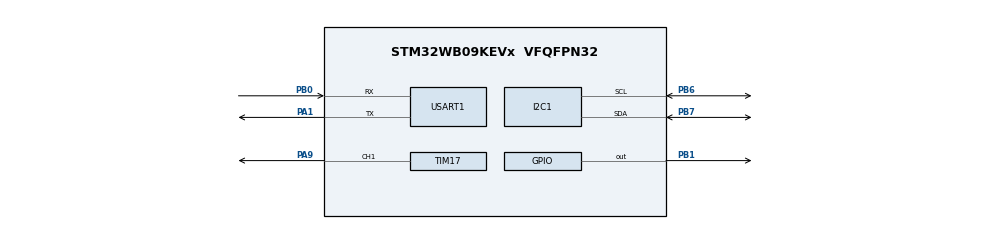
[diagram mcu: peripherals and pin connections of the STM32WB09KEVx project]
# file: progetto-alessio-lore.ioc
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I2C1.Timing=0x00303D5B
Mcu.Family=STM32WB0
Mcu.Name=STM32WB09KEVx
Mcu.Package=VFQFPN32
NVIC.RADIO_RRM_IRQn=true\:0\:0\:false\:false\:true\:false\:true\:true
NVIC.RADIO_TIMER_CPU_WKUP_IRQn=true\:0\:0\:false\:false\:true\:false\:true\:true
NVIC.RADIO_TIMER_ERROR_IRQn=true\:0\:0\:false\:false\:true\:false\:true\:true
NVIC.RADIO_TXRX_IRQn=true\:0\:0\:false\:false\:true\:false\:true\:true
NVIC.RADIO_TXRX_SEQ_IRQn=true\:0\:0\:false\:false\:true\:false\:true\:true
OSCIN.Mode=HSE-External-Oscillator
OSCIN.Signal=RCC_OSC_IN
OSCOUT.Mode=HSE-External-Oscillator
OSCOUT.Signal=RCC_OSC_OUT
PA1.Mode=Asynchronous
PA1.Signal=USART1_TX
PA2.Mode=Serial_Wire
PA2.Signal=DEBUG_SWDIO
PA3.Mode=Serial_Wire
PA3.Signal=DEBUG_SWCLK
PA9.Signal=S_TIM17_CH1
PB0.Mode=Asynchronous
PB0.Signal=USART1_RX
PB1.Signal=GPIO_Output
PB12.Mode=LSE-External-Oscillator
PB12.Signal=RCC_OSC32_OUT
PB13.Mode=LSE-External-Oscillator
PB13.Signal=RCC_OSC32_IN
PB6.GPIO_Pu=GPIO_PULLUP
PB6.Mode=I2C
PB6.Signal=I2C1_SCL
PB7.GPIO_Pu=GPIO_PULLUP
PB7.Mode=I2C
PB7.Signal=I2C1_SDA
ProjectManager.HeapSize=0x000
ProjectManager.StackSize=0xC00
ProjectManager.TargetToolchain=STM32CubeIDE
RCC.BLEMultSource=RCC_RF_CLK_16M
RCC.HSE_VALUE=32000000
RCC.HSI_VALUE=64000000
RCC.RC64MPLLSource=RCC_LSCOSOURCE_PLL64
RCC.RTCClockSelection=RCC_RTC_WDG_BLEWKUP_CLKSOURCE_LSE
RCC.SYSCLK64Divider=RCC_RC64MPLL_DIV2
RF1.Mode=RF1_Activate
RF1.Signal=RADIO_RF1
SH.S_TIM17_CH1.0=TIM17_CH1,PWM Generation1 CH1
STM32_BLE.AD_TYPE_COMPLETE_LOCAL_NAME=Alessio-Terrarium
STM32_BLE.AD_TYPE_COMPLETE_LOCAL_NAME_LENGTH=18
STM32_BLE.BSP.number=1
STM32_BLE.CFG_DEBUG_APP_ADV_TRACE=1
STM32_BLE.CFG_LSCLK_LSE=1
STM32_BLE.INCLUDE_AD_TYPE_COMPLETE_LOCAL_NAME=1
STM32_BLE.NUMBER_OF_SERVICES=1
STM32_BLE.SERVICE1_CHAR1_LONG_NAME=Temperatura
STM32_BLE.SERVICE1_CHAR1_PROP_NOTIFY=BLE_GATT_SRV_CHAR_PROP_NOTIFY
STM32_BLE.SERVICE1_CHAR1_PROP_READ=BLE_GATT_SRV_CHAR_PROP_READ
STM32_BLE.SERVICE1_CHAR1_SHORT_NAME=Temperatura
STM32_BLE.SERVICE1_CHAR1_UUID=00 01
STM32_BLE.SERVICE1_CHAR1_VALUE_LENGTH=4
STM32_BLE.SERVICE1_CHAR2_LONG_NAME=Umidita
STM32_BLE.SERVICE1_CHAR2_PROP_NOTIFY=BLE_GATT_SRV_CHAR_PROP_NOTIFY
STM32_BLE.SERVICE1_CHAR2_PROP_READ=BLE_GATT_SRV_CHAR_PROP_READ
STM32_BLE.SERVICE1_CHAR2_SHORT_NAME=Umidita
STM32_BLE.SERVICE1_CHAR2_UUID=00 02
STM32_BLE.SERVICE1_CHAR2_VALUE_LENGTH=4
STM32_BLE.SERVICE1_CHAR3_LONG_NAME=Ventola
STM32_BLE.SERVICE1_CHAR3_PROP_NOTIFY=BLE_GATT_SRV_CHAR_PROP_NOTIFY
STM32_BLE.SERVICE1_CHAR3_PROP_READ=BLE_GATT_SRV_CHAR_PROP_READ
STM32_BLE.SERVICE1_CHAR3_PROP_WRITE=BLE_GATT_SRV_CHAR_PROP_WRITE
STM32_BLE.SERVICE1_CHAR3_SHORT_NAME=Ventola
STM32_BLE.SERVICE1_CHAR3_UUID=00 03
STM32_BLE.SERVICE1_LONG_NAME=Terrarium
STM32_BLE.SERVICE1_NUMBER_OF_CHARACTERISTICS=3
STM32_BLE.SERVICE1_SHORT_NAME=Terrarium
STM32_BLE.SERVICE1_UUID=AB CD
STM32_BLE0.BSP.STBoard=false
STM32_BLE0.BSP.api=Unknown
STM32_BLE0.BSP.instance=USART1
STM32_BLE0.BSP.ip=(LPU|US)ART
STM32_BLE0.BSP.mode=Asynchronous
STM32_BLE0.BSP.name=Serial Link for Traces
STM32_BLE0.BSP.solution=USART1
TIM17.AutoReloadPreload=TIM_AUTORELOAD_PRELOAD_ENABLE
TIM17.Channel=TIM_CHANNEL_1
USART1.VirtualMode-Asynchronous=VM_ASYNC
VP_ADV_TRACE_VS_ADV_TRACE.Mode=ADV_TRACE_Enabled
VP_COMMON_BLE_VS_Utility_Common_BLE_1.0.0_1.0.0.Mode=Utility_Common
VP_MEMORYMAP_VS_MEMORYMAP.Mode=CurAppReg
VP_MISC_VS_MISC.Mode=MISC_Enabled
VP_PKA_VS_PKA.Mode=PKA_Activate
VP_PWR_VS_SECSignals.Mode=Security/Privilege
VP_RADIO_TIMER_VS_RADIO.Mode=RADIO_Activate
VP_RNG_VS_RNG.Mode=RNG_Activate
VP_SEQUENCER_VS_SEQUENCER.Mode=SEQUENCER_Enabled
VP_STM32_BLE_VS_BLE_HOST_SP.Mode=BLE_Server
VP_TIM17_VS_ClockSourceINT.Mode=Enable_Timer
VP_TINY_LPM_VS_TINY_LPM.Mode=TINY_LPM_Enabled
board=custom

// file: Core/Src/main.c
/* USER CODE BEGIN Header */
/**
  ******************************************************************************
  * @file           : main.c
  * @brief          : Main program body
  ******************************************************************************
  * @attention
  *
  * Copyright (c) 2026 STMicroelectronics.
  * All rights reserved.
  *
  * This software is licensed under terms that can be found in the LICENSE file
  * in the root directory of this software component.
  * If no LICENSE file comes with this software, it is provided AS-IS.
  *
  ******************************************************************************
  */
/* USER CODE END Header */
#include "main.h"

/* USER CODE BEGIN Includes */
#include <stdio.h>
#include "terrarium_app.h"
/* USER CODE END Includes */

I2C_HandleTypeDef hi2c1;

PKA_HandleTypeDef hpka;

RNG_HandleTypeDef hrng;

TIM_HandleTypeDef htim17;

UART_HandleTypeDef huart1;

void SystemClock_Config(void);
void PeriphCommonClock_Config(void);
static void MX_GPIO_Init(void);
static void MX_I2C1_Init(void);
static void MX_USART1_UART_Init(void);
static void MX_TIM17_Init(void);
static void MX_RNG_Init(void);
static void MX_PKA_Init(void);
static void MX_RADIO_Init(void);
static void MX_RADIO_TIMER_Init(void);
/* USER CODE BEGIN PFP */
static void ConfiguraSensore(void);
static void AvviaMisurazioneSensore(void);
static void LeggiSensore(float *temperatura, float *umidita);
// devo rimuovere static per permettere la visibilità agli altri file
void AttivaVentola(uint8_t velocita);
void SpegniVentola(void);
/* USER CODE END PFP */

/* USER CODE BEGIN 0 */
uint32_t timestamp_sensore = 0;
uint8_t ventola_attiva = 0;
uint32_t timestamp_ventola = 0;
uint32_t timeout_ventola = 0;
/* USER CODE END 0 */

int main(void)
{

  /* MCU Configuration--------------------------------------------------------*/

  /* Reset of all peripherals, Initializes the Flash interface and the Systick. */
  HAL_Init();

  /* Configure the system clock */
  SystemClock_Config();

  /* Configure the peripherals common clocks */
  PeriphCommonClock_Config();

  /* Initialize all configured peripherals */
  MX_GPIO_Init();
  MX_I2C1_Init();
  MX_USART1_UART_Init();
  MX_TIM17_Init();
  MX_RNG_Init();
  MX_PKA_Init();
  MX_RADIO_Init();
  MX_RADIO_TIMER_Init();

  /* Init code for STM32_BLE */
  MX_APPE_Init(NULL);

  /* Infinite loop */
  /* USER CODE BEGIN WHILE */

  HAL_TIM_PWM_Start(&htim17, TIM_CHANNEL_1);
  #define HDC1080_ADDR (0x40 << 1) // indirizzo = 0100 0000, shiftato per HAL
  float temperatura, umidita;
  extern uint8_t global_device_connected;
  ConfiguraSensore(); // solo all'avvio

  while (1)
    {
      // campioniamo temp. e umid. ogni 5 secondi
      if((HAL_GetTick() - timestamp_sensore >= 5000) ){
      AvviaMisurazioneSensore();
      LeggiSensore(&temperatura, &umidita);
      	  // attiviamo la ventola se superiamo una soglia di temperatura
      	  if(temperatura > 30.0 && ventola_attiva == 0){
          	  AttivaVentola(100); // cattura sempre un timestamp all'attivazione
          	  Notifica_Ventola_BLE(ventola_attiva);
          }
      	  Notifica_Temperatura_BLE(temperatura);
      	  Notifica_Umidita_BLE(umidita);
      }

      // controlliamo che la ventola non stia accesa più del tempo stabilito
      if(ventola_attiva > 0 && (HAL_GetTick() - timestamp_ventola >= 15000) ){
          SpegniVentola();
          Notifica_Ventola_BLE(ventola_attiva);
      }

	  // lampeggia led blu finchè non mi connetto con bluetooth
      if(global_device_connected == 0){
    	  HAL_GPIO_TogglePin(GPIOB, GPIO_PIN_1);
      }

      HAL_Delay(100);

    /* USER CODE END WHILE */
    MX_APPE_Process();

    }
}

void SystemClock_Config(void)
{
  RCC_OscInitTypeDef RCC_OscInitStruct = {0};
  RCC_ClkInitTypeDef RCC_ClkInitStruct = {0};

  /** Initializes the RCC Oscillators according to the specified parameters
  * in the RCC_OscInitTypeDef structure.
  */
  RCC_OscInitStruct.OscillatorType = RCC_OSCILLATORTYPE_HSE|RCC_OSCILLATORTYPE_LSE;
  RCC_OscInitStruct.HSEState = RCC_HSE_ON;
  RCC_OscInitStruct.LSEState = RCC_LSE_ON;
  if (HAL_RCC_OscConfig(&RCC_OscInitStruct) != HAL_OK)
  {
    Error_Handler();
  }

  /** Configure the SYSCLKSource and SYSCLKDivider
  */
  RCC_ClkInitStruct.SYSCLKSource = RCC_SYSCLKSOURCE_RC64MPLL;
  RCC_ClkInitStruct.SYSCLKDivider = RCC_RC64MPLL_DIV2;

  if (HAL_RCC_ClockConfig(&RCC_ClkInitStruct, FLASH_WAIT_STATES_0) != HAL_OK)
  {
    Error_Handler();
  }
}

void PeriphCommonClock_Config(void)
{
  RCC_PeriphCLKInitTypeDef PeriphClkInitStruct = {0};

  /** Initializes the peripherals clock
  */
  PeriphClkInitStruct.PeriphClockSelection = RCC_PERIPHCLK_SMPS;
  PeriphClkInitStruct.SmpsDivSelection = RCC_SMPSCLK_DIV4;

  if (HAL_RCCEx_PeriphCLKConfig(&PeriphClkInitStruct) != HAL_OK)
  {
    Error_Handler();
  }
}

static void MX_I2C1_Init(void)
{

  hi2c1.Instance = I2C1;
  hi2c1.Init.Timing = 0x00303D5B;
  hi2c1.Init.OwnAddress1 = 0;
  hi2c1.Init.AddressingMode = I2C_ADDRESSINGMODE_7BIT;
  hi2c1.Init.DualAddressMode = I2C_DUALADDRESS_DISABLE;
  hi2c1.Init.OwnAddress2 = 0;
  hi2c1.Init.OwnAddress2Masks = I2C_OA2_NOMASK;
  hi2c1.Init.GeneralCallMode = I2C_GENERALCALL_DISABLE;
  hi2c1.Init.NoStretchMode = I2C_NOSTRETCH_DISABLE;
  if (HAL_I2C_Init(&hi2c1) != HAL_OK)
  {
    Error_Handler();
  }

  /** Configure Analogue filter
  */
  if (HAL_I2CEx_ConfigAnalogFilter(&hi2c1, I2C_ANALOGFILTER_ENABLE) != HAL_OK)
  {
    Error_Handler();
  }

  /** Configure Digital filter
  */
  if (HAL_I2CEx_ConfigDigitalFilter(&hi2c1, 0) != HAL_OK)
  {
    Error_Handler();
  }

}

static void MX_PKA_Init(void)
{

  hpka.Instance = PKA;
  if (HAL_PKA_Init(&hpka) != HAL_OK)
  {
    Error_Handler();
  }

}

static void MX_RADIO_Init(void)
{

  RADIO_HandleTypeDef hradio = {0};

  if (__HAL_RCC_RADIO_IS_CLK_DISABLED())
  {
    /* Radio Peripheral reset */
    __HAL_RCC_RADIO_FORCE_RESET();
    __HAL_RCC_RADIO_RELEASE_RESET();

    /* Enable Radio peripheral clock */
    __HAL_RCC_RADIO_CLK_ENABLE();
  }
  hradio.Instance = RADIO;
  HAL_RADIO_Init(&hradio);

}

static void MX_RADIO_TIMER_Init(void)
{

  RADIO_TIMER_InitTypeDef RADIO_TIMER_InitStruct = {0};

  if (__HAL_RCC_RADIO_IS_CLK_DISABLED())
  {
    /* Radio Peripheral reset */
    __HAL_RCC_RADIO_FORCE_RESET();
    __HAL_RCC_RADIO_RELEASE_RESET();

    /* Enable Radio peripheral clock */
    __HAL_RCC_RADIO_CLK_ENABLE();
  }
  /* Wait to be sure that the Radio Timer is active */
  while(LL_RADIO_TIMER_GetAbsoluteTime(WAKEUP) < 0x10);
  RADIO_TIMER_InitStruct.XTAL_StartupTime = 320;
  RADIO_TIMER_InitStruct.enableInitialCalibration = FALSE;
  RADIO_TIMER_InitStruct.periodicCalibrationInterval = 0;
  HAL_RADIO_TIMER_Init(&RADIO_TIMER_InitStruct);

}

static void MX_RNG_Init(void)
{

  hrng.Instance = RNG;
  if (HAL_RNG_Init(&hrng) != HAL_OK)
  {
    Error_Handler();
  }

}

static void MX_TIM17_Init(void)
{

  TIM_OC_InitTypeDef sConfigOC = {0};
  TIM_BreakDeadTimeConfigTypeDef sBreakDeadTimeConfig = {0};

  htim17.Instance = TIM17;
  htim17.Init.Prescaler = 13000;
  htim17.Init.CounterMode = TIM_COUNTERMODE_UP;
  htim17.Init.Period = 100;
  htim17.Init.ClockDivision = TIM_CLOCKDIVISION_DIV1;
  htim17.Init.RepetitionCounter = 0;
  htim17.Init.AutoReloadPreload = TIM_AUTORELOAD_PRELOAD_ENABLE;
  if (HAL_TIM_Base_Init(&htim17) != HAL_OK)
  {
    Error_Handler();
  }
  if (HAL_TIM_PWM_Init(&htim17) != HAL_OK)
  {
    Error_Handler();
  }
  sConfigOC.OCMode = TIM_OCMODE_PWM1;
  sConfigOC.Pulse = 0;
  sConfigOC.OCPolarity = TIM_OCPOLARITY_HIGH;
  sConfigOC.OCNPolarity = TIM_OCNPOLARITY_HIGH;
  sConfigOC.OCFastMode = TIM_OCFAST_DISABLE;
  sConfigOC.OCIdleState = TIM_OCIDLESTATE_RESET;
  sConfigOC.OCNIdleState = TIM_OCNIDLESTATE_RESET;
  if (HAL_TIM_PWM_ConfigChannel(&htim17, &sConfigOC, TIM_CHANNEL_1) != HAL_OK)
  {
    Error_Handler();
  }
  sBreakDeadTimeConfig.OffStateRunMode = TIM_OSSR_DISABLE;
  sBreakDeadTimeConfig.OffStateIDLEMode = TIM_OSSI_DISABLE;
  sBreakDeadTimeConfig.LockLevel = TIM_LOCKLEVEL_OFF;
  sBreakDeadTimeConfig.DeadTime = 0;
  sBreakDeadTimeConfig.BreakState = TIM_BREAK_DISABLE;
  sBreakDeadTimeConfig.BreakPolarity = TIM_BREAKPOLARITY_HIGH;
  sBreakDeadTimeConfig.BreakAFMode = TIM_BREAK_AFMODE_INPUT;
  sBreakDeadTimeConfig.AutomaticOutput = TIM_AUTOMATICOUTPUT_DISABLE;
  if (HAL_TIMEx_ConfigBreakDeadTime(&htim17, &sBreakDeadTimeConfig) != HAL_OK)
  {
    Error_Handler();
  }
  HAL_TIM_MspPostInit(&htim17);

}

static void MX_USART1_UART_Init(void)
{

  huart1.Instance = USART1;
  huart1.Init.BaudRate = 115200;
  huart1.Init.WordLength = UART_WORDLENGTH_8B;
  huart1.Init.StopBits = UART_STOPBITS_1;
  huart1.Init.Parity = UART_PARITY_NONE;
  huart1.Init.Mode = UART_MODE_TX_RX;
  huart1.Init.HwFlowCtl = UART_HWCONTROL_NONE;
  huart1.Init.OverSampling = UART_OVERSAMPLING_16;
  huart1.Init.OneBitSampling = UART_ONE_BIT_SAMPLE_DISABLE;
  huart1.Init.ClockPrescaler = UART_PRESCALER_DIV1;
  huart1.AdvancedInit.AdvFeatureInit = UART_ADVFEATURE_NO_INIT;
  if (HAL_UART_Init(&huart1) != HAL_OK)
  {
    Error_Handler();
  }
  if (HAL_UARTEx_SetTxFifoThreshold(&huart1, UART_TXFIFO_THRESHOLD_1_8) != HAL_OK)
  {
    Error_Handler();
  }
  if (HAL_UARTEx_SetRxFifoThreshold(&huart1, UART_RXFIFO_THRESHOLD_1_8) != HAL_OK)
  {
    Error_Handler();
  }
  if (HAL_UARTEx_DisableFifoMode(&huart1) != HAL_OK)
  {
    Error_Handler();
  }

}

static void MX_GPIO_Init(void)
{
  GPIO_InitTypeDef GPIO_InitStruct = {0};

  /* GPIO Ports Clock Enable */
  __HAL_RCC_GPIOB_CLK_ENABLE();
  __HAL_RCC_GPIOA_CLK_ENABLE();

  /*Configure GPIO pin Output Level */
  HAL_GPIO_WritePin(GPIOB, GPIO_PIN_1, GPIO_PIN_RESET);

  /*Configure GPIO pin : PB1 */
  GPIO_InitStruct.Pin = GPIO_PIN_1;
  GPIO_InitStruct.Mode = GPIO_MODE_OUTPUT_PP;
  GPIO_InitStruct.Pull = GPIO_NOPULL;
  GPIO_InitStruct.Speed = GPIO_SPEED_FREQ_LOW;
  HAL_GPIO_Init(GPIOB, &GPIO_InitStruct);

  /*Configure GPIO pin : PA2 */
  GPIO_InitStruct.Pin = GPIO_PIN_2;
  GPIO_InitStruct.Mode = GPIO_MODE_AF_PP;
  GPIO_InitStruct.Pull = GPIO_PULLUP;
  GPIO_InitStruct.Speed = GPIO_SPEED_FREQ_LOW;
  GPIO_InitStruct.Alternate = GPIO_AF7_SWDIO;
  HAL_GPIO_Init(GPIOA, &GPIO_InitStruct);

  /**/
  HAL_PWREx_DisableGPIOPullUp(PWR_GPIO_B, PWR_GPIO_BIT_1);

  /**/
  HAL_PWREx_DisableGPIOPullDown(PWR_GPIO_B, PWR_GPIO_BIT_1);

  /**/
  HAL_PWREx_EnableGPIOPullUp(PWR_GPIO_A, PWR_GPIO_BIT_2);

  /*RT DEBUG GPIO_Init */
  RT_DEBUG_GPIO_Init();

  /* USER CODE BEGIN MX_GPIO_Init_2 */
  HAL_GPIO_WritePin(GPIOB, GPIO_PIN_1, GPIO_PIN_SET);
  /* USER CODE END MX_GPIO_Init_2 */
}

/* USER CODE BEGIN 4 */

static void ConfiguraSensore(void){
	uint8_t config_data[3] = {0x02, 0x10, 0x00}; // register address + 16 bit config.
	// TEMP: Bit[10] to 0 for 14 bit resolution, Bit[10] to 1 for 11 bit resolution
	// HUM: Bit[9:8] to 00 for 14 bit resolution, Bit[9:8] to 01 for 11 bit resolution, Bit[9:8] to 10 for 8 bit resolution.
	// 0001 0000 0000 0000 = 14 bit temp, 14 bit hum

	HAL_I2C_Master_Transmit(&hi2c1, HDC1080_ADDR, config_data, 3, 100);
	HAL_Delay(100);
}

static void AvviaMisurazioneSensore(void){
	uint8_t reg_pointer = 0x00;
	HAL_I2C_Master_Transmit(&hi2c1, HDC1080_ADDR,  &reg_pointer, 1, 100);
	HAL_Delay(10);
}

static void LeggiSensore(float *temperatura, float *umidita){
	uint8_t rx_data[4];
	char uart_buffer[100];
	int len;
	if (HAL_I2C_Master_Receive(&hi2c1, HDC1080_ADDR, rx_data, 4, 100) == HAL_OK)
	{
		// il sensore riempie rx data con 2 byte di temp e 2 byte di hum
		// prendo il primo byte e con '<<8' lo rendo a due byte, poi riempio
		// l'ultimo byte di zeri ottenuto con '|' mettendo il secondo byte
		uint16_t raw_temp = (rx_data[0] << 8) | rx_data[1];
	    uint16_t raw_umid = (rx_data[2] << 8) | rx_data[3];

	    // calcoliamo i valori applicando le formule del datasheet
	    *temperatura = ((float)raw_temp / 65536.0f) * 165.0f - 40.0f;
	    *umidita = ((float)raw_umid / 65536.0f) * 100.0f;
	    len = sprintf(uart_buffer, "Temperatura: %.2f C  Umidita': %.2f %% \r\n", *temperatura, *umidita);
	    HAL_UART_Transmit(&huart1, (uint8_t*)uart_buffer, len, 100);
	    timestamp_sensore = HAL_GetTick();
	 }
	 else
	 {
	    len = sprintf(uart_buffer, "Errore di lettura dal sensore.\r\n");
	    HAL_UART_Transmit(&huart1, (uint8_t*)uart_buffer, len, 100);
	 }
}

void AttivaVentola(uint8_t velocita){
	if(velocita<=0){
		SpegniVentola();
		return;
	}
	if(HAL_GetTick() - timeout_ventola <= 10000){
		char msg[] = "Timeout ventola ancora attivo\r\n";
		HAL_UART_Transmit(&huart1, (uint8_t*)msg, sizeof(msg) - 1, 100);
	}
	else {
		if (velocita > 100){
			velocita = 100;
		}
		__HAL_TIM_SET_COMPARE(&htim17, TIM_CHANNEL_1, velocita); // attiva ventola con pulse = velocita
		if(ventola_attiva == 0) timestamp_ventola = HAL_GetTick(); // evitiamo di estendere il timer se era già attivo
		ventola_attiva = velocita;
		char msg[] = "Ventola accesa\r\n";
		HAL_UART_Transmit(&huart1, (uint8_t*)msg, sizeof(msg) - 1, 100);
	}
}

void SpegniVentola(void){
	if(ventola_attiva > 0){ //  evitiamo di ripetere tutte le azioni e di resettare il timeout
		__HAL_TIM_SET_COMPARE(&htim17, TIM_CHANNEL_1, 0); // spegni ventola con pulse = 0
		ventola_attiva = 0;
		char msg[] = "Ventola spenta\r\n";
		HAL_UART_Transmit(&huart1, (uint8_t*)msg, sizeof(msg) - 1, 100);
		timeout_ventola = HAL_GetTick();
	}
}

/* USER CODE END 4 */

void Error_Handler(void)
{
  __disable_irq();
  while (1)
  {
  }
}
